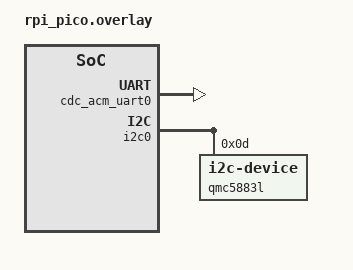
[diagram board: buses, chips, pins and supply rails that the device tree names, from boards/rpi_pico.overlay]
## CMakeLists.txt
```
# SPDX-License-Identifier: Apache-2.0

cmake_minimum_required(VERSION 3.20.0)
set(DTC_OVERLAY_FILE ${CMAKE_CURRENT_SOURCE_DIR}/boards/rpi_pico.overlay)

include_directories(include)

find_package(Zephyr REQUIRED HINTS $ENV{ZEPHYR_BASE})
project(step_gyro)

target_sources(app PRIVATE src/main.cpp)
include_directories(src)
file(GLOB_RECURSE SRCS src/**.cpp)
target_sources(app PRIVATE ${SRCS})
#include_directories(boards)
```

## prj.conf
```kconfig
CONFIG_CPLUSPLUS=y
CONFIG_NEWLIB_LIBC=y
CONFIG_LIB_CPLUSPLUS=y
CONFIG_NEWLIB_LIBC_FLOAT_PRINTF=y
CONFIG_STDOUT_CONSOLE=y
CONFIG_PRINTK=y
CONFIG_LOG=y
CONFIG_LOG_PRINTK=y
CONFIG_LOG_MODE_IMMEDIATE=y
CONFIG_SYSTEM_WORKQUEUE_STACK_SIZE=1024
CONFIG_USB_DEVICE_STACK=y
CONFIG_USB_DEVICE_PRODUCT="RPi Pico USB Serial Console"
CONFIG_USB_DEVICE_VID=0001

CONFIG_I2C=y
CONFIG_GPIO=y
CONFIG_SENSOR=y
CONFIG_PINCTRL=y
CONFIG_MPU6050_TRIGGER_NONE=y
CONFIG_MPU_ALLOW_FLASH_WRITE=y
CONFIG_CBPRINTF_FP_SUPPORT=y
CONFIG_SERIAL=y
CONFIG_CONSOLE=y
CONFIG_UART_CONSOLE=y
CONFIG_UART_LINE_CTRL=y
```

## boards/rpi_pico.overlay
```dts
/ {
    chosen {
        zephyr,console = &cdc_acm_uart0;
        uart,gps = &uart1;
    };
};

&zephyr_udc0 {
    cdc_acm_uart0: cdc_acm_uart0 {
    	compatible = "zephyr,cdc-acm-uart";
        label = "CDC_ACM_0";
    };
};

&pinctrl {

        myi2c: myi2c {
            group1 {
                pinmux = <I2C0_SDA_P4>, <I2C0_SCL_P5>;
                input-enable;
                input-schmitt-enable;
            };
        };
};

&i2c0 {

    status = "okay";
    pinctrl-0 = <&myi2c>;

        qmc5883l: qmc5883l@d {
            compatible = "i2c-device";
            reg = <0xd>;
            status = "okay";
        };
};
```

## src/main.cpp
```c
#include <zephyr/drivers/gpio.h>
#include <zephyr/kernel.h>
#include <zephyr/devicetree.h>
#include <zephyr/device.h>
#include <zephyr/drivers/gpio.h>
#include <zephyr/logging/log.h>
#include <zephyr/drivers/sensor.h>
#include <zephyr/sys/util.h>
#include <cstdint>
#include "zephyr/drivers/i2c.h"
#include "zephyr/usb/usb_device.h"
#include <zephyr/drivers/uart.h>
#include <math.h>


LOG_MODULE_REGISTER(logging_blog, LOG_LEVEL_DBG);

#define HMC                DT_NODELABEL(i2c0)
#define ADDRESS            0x0D

BUILD_ASSERT(DT_NODE_HAS_COMPAT(DT_CHOSEN(zephyr_console), zephyr_cdc_acm_uart), "Console device is not ACM CDC UART device");


uint16_t heading (double x, double y)
{
    double rad = atan2(y, x);
    int16_t deg = (180*rad) / 3.14;
    if (deg < 0)
        deg += 360;
    return deg;
}

void read_data(const struct device* dev, int16_t* values){
    uint8_t data [6] ={0,0,0,0,0,0};
        uint8_t status = 0;
        i2c_reg_read_byte(dev, ADDRESS, 0x06, &status);
        if(status & 0x01)
        {
            int i = i2c_reg_read_byte(dev, ADDRESS, 0x00, &data[0]);
            i += i2c_reg_read_byte(dev, ADDRESS, 0x01, &data[1]);
            i += i2c_reg_read_byte(dev, ADDRESS, 0x02, &data[2]);
            i += i2c_reg_read_byte(dev, ADDRESS, 0x03, &data[3]);
            i += i2c_reg_read_byte(dev, ADDRESS, 0x04, &data[4]);
            i += i2c_reg_read_byte(dev, ADDRESS, 0x05, &data[5]);
    
            values[0] = ((data[1] << 8) | data[0]);
            values[1] = ((data[3] << 8) | data[2]);
            values[2] = ((data[5] << 8) | data[4]);
        }
        else
        {
            printk("Data not ready");
        }
}

int main() 
{
    	/* Configure to set Console output to USB Serial */ 
	const struct device *usb_device = DEVICE_DT_GET(DT_CHOSEN(zephyr_console));

    /* Check if USB can be initialised, bails out if fail is returned */
	if (usb_enable(NULL) != 0) {
		return -1;
	}

    const struct device* dev = DEVICE_DT_GET(HMC);
    i2c_reg_write_byte(dev, ADDRESS, 0x0B, 0x01);
    k_msleep(100);
    i2c_reg_write_byte(dev, ADDRESS, 0x09, 0x1D);
    i2c_reg_write_byte(dev, ADDRESS, 0x0A, 0x00);

    k_msleep(5000);

    int16_t values[3];
    while(1)
    {
        read_data(dev, values);
        printk("%d, %d, %d\n", values[0], values[1], values[2]);
        k_msleep(500);
    }

    return 0;
}
```
